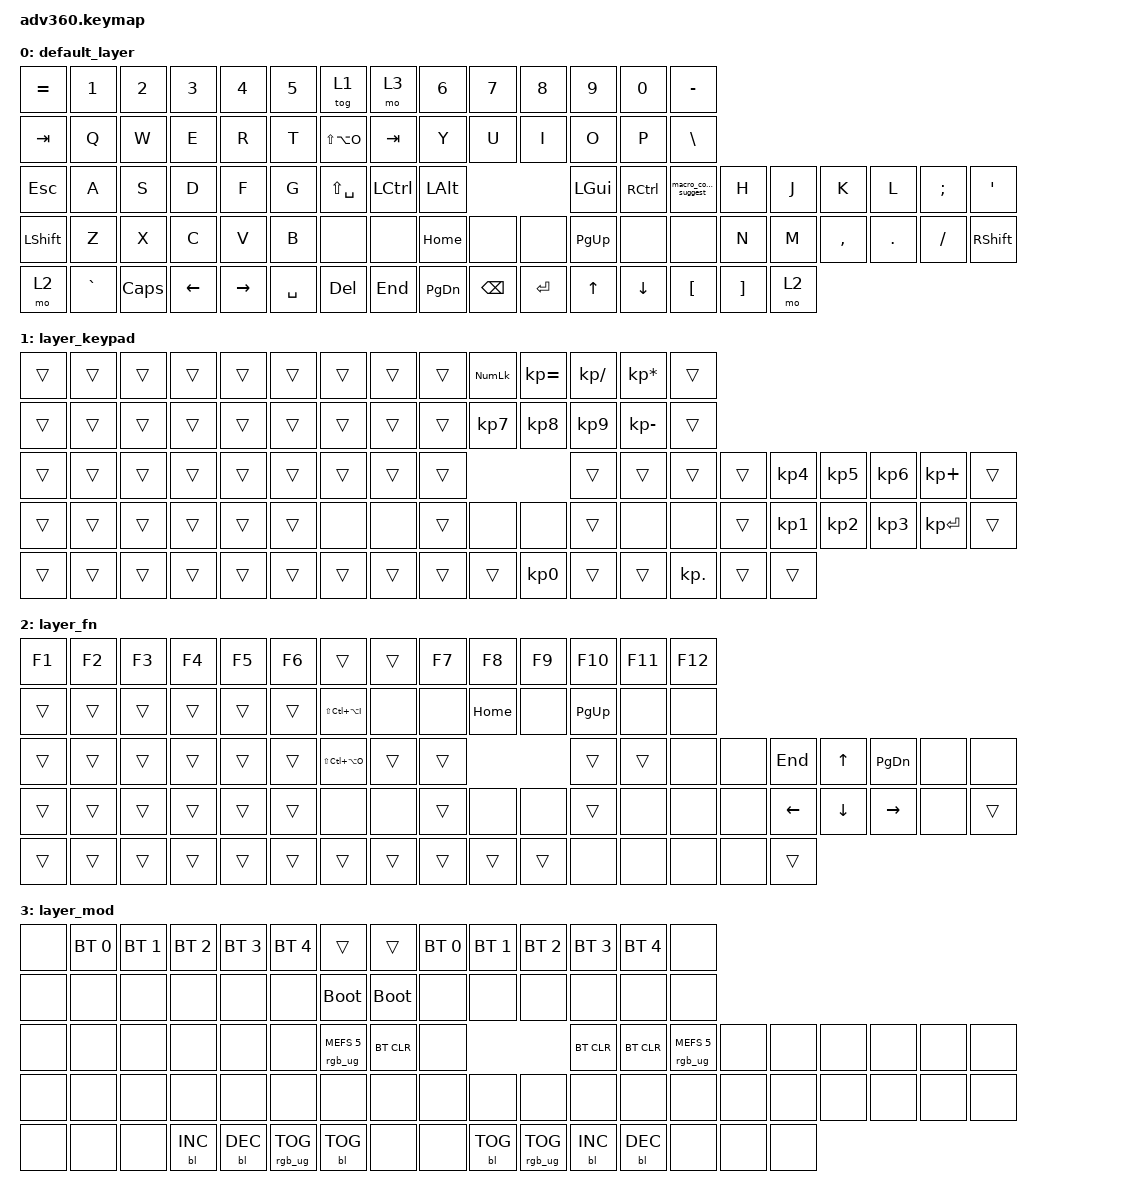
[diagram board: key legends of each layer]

/*
 * Copyright (c) 2020 The ZMK Contributors
 *
 * SPDX-License-Identifier: MIT
 */


/* THIS FILE WAS GENERATED!
 *
 * This file was generated automatically. You may or may not want to
 * edit it directly.
 */

#include <behaviors.dtsi>
#include <dt-bindings/zmk/keys.h>
#include <dt-bindings/zmk/bt.h>
#include <dt-bindings/zmk/rgb.h>
#include <dt-bindings/zmk/backlight.h>

/ {
  behaviors {
    #include "macros.dtsi"
    #include "version.dtsi"

    hm: homerow_mods {
        compatible = "zmk,behavior-hold-tap";
        label = "HOMEROW_MODS";
        #binding-cells = <2>;
        tapping-term-ms = <200>;
        quick_tap_ms = <175>;
        flavor = "tap-preferred";
        bindings = <&kp>, <&kp>;
    };
  };

    keymap {
        compatible = "zmk,keymap";


        default_layer {
            bindings = <
 &kp EQUAL     &kp N1    &kp N2    &kp N3     &kp N4     &kp N5                   &tog 1      &mo 3     &kp N6         &kp N7     &kp N8     &kp N9     &kp N0               &kp MINUS
   &kp TAB      &kp Q     &kp W     &kp E      &kp R      &kp T            &kp LS(LA(O))    &kp TAB      &kp Y          &kp U      &kp I      &kp O      &kp P                &kp BSLH
   &kp ESC      &kp A     &kp S     &kp D      &kp F      &kp G            &kp LS(SPACE)  &kp LCTRL   &kp LALT                             &kp LGUI  &kp RCTRL  &macro_copilot_suggest     &kp H   &kp J      &kp K    &kp L  &kp SEMI    &kp SQT
 &kp LSHFT      &kp Z     &kp X     &kp C      &kp V      &kp B                    &none      &none   &kp HOME          &none      &none  &kp PG_UP      &none                   &none     &kp N   &kp M  &kp COMMA  &kp DOT  &kp FSLH  &kp RSHFT
     &mo 2  &kp GRAVE  &kp CAPS  &kp LEFT  &kp RIGHT  &kp SPACE               &kp DELETE    &kp END  &kp PG_DN  &kp BACKSPACE  &kp ENTER     &kp UP   &kp DOWN                &kp LBKT  &kp RBKT   &mo 2
            >;
        };

        layer_keypad {
            bindings = <
 &trans  &trans  &trans  &trans  &trans  &trans            &trans  &trans  &trans  &kp KP_NUM  &kp KP_EQUAL  &kp KP_DIVIDE  &kp KP_MULTIPLY      &trans
 &trans  &trans  &trans  &trans  &trans  &trans            &trans  &trans  &trans   &kp KP_N7     &kp KP_N8      &kp KP_N9     &kp KP_MINUS      &trans
 &trans  &trans  &trans  &trans  &trans  &trans            &trans  &trans  &trans                                   &trans           &trans      &trans  &trans  &kp KP_N4  &kp KP_N5  &kp KP_N6   &kp KP_PLUS  &trans
 &trans  &trans  &trans  &trans  &trans  &trans             &none   &none  &trans       &none         &none         &trans            &none       &none  &trans  &kp KP_N1  &kp KP_N2  &kp KP_N3  &kp KP_ENTER  &trans
 &trans  &trans  &trans  &trans  &trans  &trans            &trans  &trans  &trans      &trans     &kp KP_N0         &trans           &trans  &kp KP_DOT  &trans     &trans
            >;
        };

        layer_fn {
            bindings = <
 &kp F1  &kp F2  &kp F3  &kp F4  &kp F5  &kp F6                       &trans  &trans  &kp F7    &kp F8  &kp F9    &kp F10  &kp F11  &kp F12
 &trans  &trans  &trans  &trans  &trans  &trans            &kp LS(LC(LA(I)))   &none   &none  &kp HOME   &none  &kp PG_UP    &none    &none
 &trans  &trans  &trans  &trans  &trans  &trans            &kp LS(LC(LA(O)))  &trans  &trans                       &trans   &trans    &none   &none   &kp END    &kp UP  &kp PG_DN   &none   &none
 &trans  &trans  &trans  &trans  &trans  &trans                        &none   &none  &trans     &none   &none     &trans    &none    &none   &none  &kp LEFT  &kp DOWN  &kp RIGHT   &none  &trans
 &trans  &trans  &trans  &trans  &trans  &trans                       &trans  &trans  &trans    &trans  &trans      &none    &none    &none   &none    &trans
            >;
        };

        layer_mod {
            bindings = <
  &none  &bt BT_SEL 0  &bt BT_SEL 1  &bt BT_SEL 2  &bt BT_SEL 3     &bt BT_SEL 4                            &trans       &trans  &bt BT_SEL 0  &bt BT_SEL 1     &bt BT_SEL 2  &bt BT_SEL 3  &bt BT_SEL 4                   &none
  &none         &none         &none         &none         &none            &none                       &bootloader  &bootloader         &none         &none            &none         &none         &none                   &none
  &none         &none         &none         &none         &none            &none            &rgb_ug RGB_MEFS_CMD 5   &bt BT_CLR         &none                                   &bt BT_CLR    &bt BT_CLR  &rgb_ug RGB_MEFS_CMD 5   &none   &none   &none   &none   &none   &none
  &none         &none         &none         &none         &none            &none                             &none        &none         &none         &none            &none         &none         &none                   &none   &none   &none   &none   &none   &none   &none
  &none         &none         &none    &bl BL_INC    &bl BL_DEC  &rgb_ug RGB_TOG                        &bl BL_TOG        &none         &none    &bl BL_TOG  &rgb_ug RGB_TOG    &bl BL_INC    &bl BL_DEC                   &none   &none   &none
            >;
        };

    };
};
